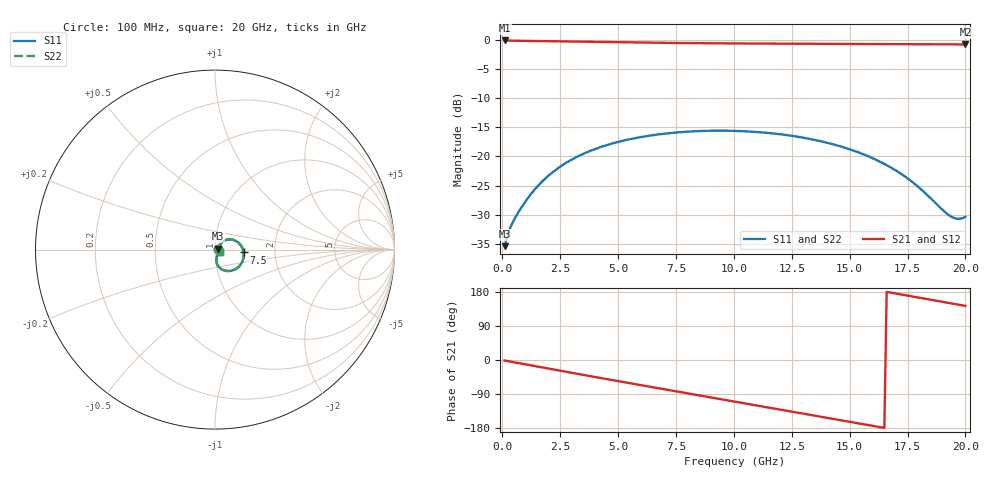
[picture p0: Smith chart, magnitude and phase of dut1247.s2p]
! Touchstone file exported from HFSS 2026.1.0
!  File:  C:/ffzhzh/LocalFiles/Ansys_Project_Files/temp_train_TSV_RDL_1247_1783324799_30076.aedt
!  Generated:  04:08:51 PM Jul  6, 2026
!  Design:  TSV_RDL
!  Project:  temp_train_TSV_RDL_1247_1783324799_30076
! Variables:
!  h_bsmrdl = 5.18um
!  h_ox = 20um
!  h_rdl = 5um
!  h_sub = 50.17um
!  h_tmrdl = 4.95um
!  h_tsv = 50.17um
!  h_via = 3um
!  l_bsmrdl = 380.79um
!  l_sub = 3866.9um
!  l_tmrdl = 554.59um
!  m_sub = 200um
!  pitch = 26.03um
!  r_tsv = 4.62um
!  s_tmrdl = 10um
!  w_bsmrdl = 13.75um
!  w_sub = 500um
!  w_tmrdl = 21.64um
!  x_tsv_center1 = 565.41um
!  x_tsv_center2 = 959.95um
!  x_tsv_center3 = 1536.18um
!  x_tsv_center4 = 1930.72um
!  x_tsv_center5 = 2506.95um
!  x_tsv_center6 = 2901.49um
# GHz S MA R 50.000000
! Terminal data exported
! Port[1] = TM_RDL1_1_T1
! Port[2] = TM_RDL5_1_T1
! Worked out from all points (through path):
!   200 points, 100 MHz to 20 GHz, reference 50 ohm
!   highest |S21| = -0.14 dB at 100 MHz (marker M1); lowest = -0.8 dB at 20 GHz (marker M2)
!   group delay of S21, straight-line fit = 30 ps
!   lowest |S11| = -35.4 dB at 100 MHz (marker M3), VSWR 1.03, Z = 51.7 + j0.526 ohm
!   |S11| at or under -10 dB: start of sweep to end of sweep
!   |S22| runs from -35.4 to -15.6 dB; largest |S21 - S12| = 7.1e-14
!   S11 on the Smith chart (normalised r, x): 100 MHz: 1.03, +0.01; 7.5 GHz: 1.38, -0.04; 20 GHz: 1.05, -0.03
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0.1  0.01707 17.4  0.9838 -1.3  0.9838 -1.3  0.01707 17.4
! Gamma 0 0 0 0
! Port Impedance 50 0 50 0
0.3  0.0233 31.3  0.9808 -3.6  0.9808 -3.6  0.02329 31.3
0.5  0.0285 37.0  0.9789 -5.9  0.9789 -5.9  0.0285 37.0
0.9  0.03859 43.6  0.9767 -10.4  0.9767 -10.4  0.03858 43.6
1.4  0.05214 46.0  0.9743 -16.0  0.9743 -16.0  0.05213 46.1
2.3  0.07658 42.5  0.9688 -26.1  0.9688 -26.1  0.07657 42.5
3.5  0.1054 32.5  0.9601 -39.4  0.9601 -39.4  0.1053 32.5
5.2  0.1362 16.3  0.9483 -57.9  0.9483 -57.9  0.1361 16.3
6.8  0.155 0.9  0.9393 -75.1  0.9393 -75.1  0.1549 1.0
7.5  0.1603 -5.7  0.9361 -82.6  0.9361 -82.6  0.1602 -5.6
8.8  0.1657 -17.8  0.9311 -96.5  0.9311 -96.5  0.1657 -17.7
10.1  0.1655 -29.8  0.9273 -110.4  0.9273 -110.4  0.1654 -29.6
11.7  0.1574 -44.2  0.9239 -127.5  0.9239 -127.5  0.1573 -43.9
13.4  0.1398 -58.8  0.9212 -145.7  0.9212 -145.7  0.1398 -58.6
14.3  0.1269 -66.1  0.9201 -155.4  0.9201 -155.4  0.1269 -65.8
15.1  0.1135 -72.2  0.919 -164.0  0.919 -164.0  0.1135 -71.9
15.9  0.09849 -77.5  0.918 -172.7  0.918 -172.7  0.09855 -77.2
16.7  0.08216 -81.6  0.9168 178.6  0.9168 178.6  0.08225 -81.2
17.8  0.05844 -83.1  0.9148 166.7  0.9148 166.7  0.0586 -82.6
19.3  0.03135 -58.7  0.9115 150.4  0.9115 150.4  0.03168 -58.4
19.7  0.02927 -42.0  0.9104 146.0  0.9104 146.0  0.02961 -41.9
20  0.03039 -29.0  0.9095 142.8  0.9095 142.8  0.03071 -29.0
